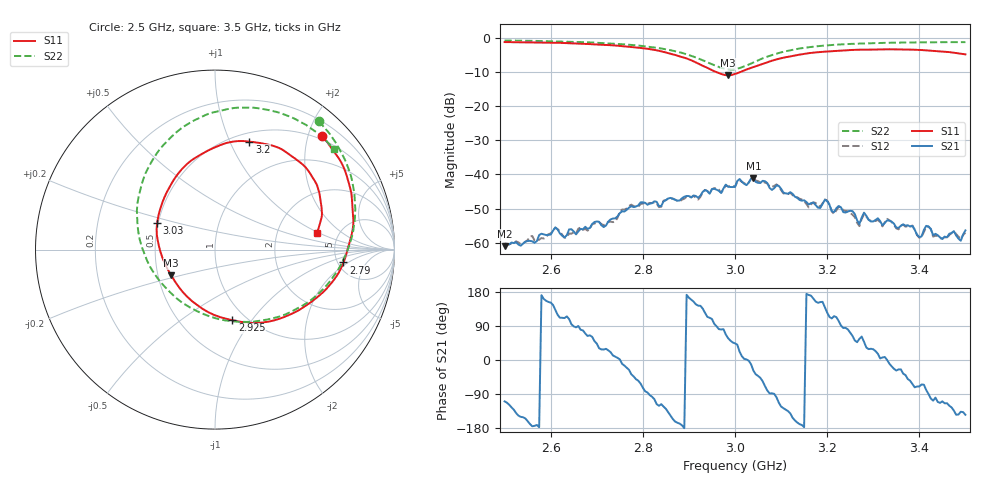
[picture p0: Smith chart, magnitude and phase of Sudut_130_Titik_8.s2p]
# Hz S RI R 50
! CMT, C1220, 16058040, 17.2.0/1
! Date: 15/08/2018 09:55:39
! Data: Format (Calibration Info)
! Freq  S11: Re/Im (F2)  S21: Re/Im (F2)  S12: Re/Im (F2)  S22: Re/Im (F2)
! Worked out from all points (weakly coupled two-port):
!   201 points, 2.5 GHz to 3.5 GHz, reference 50 ohm
!   highest |S21| = -41.12 dB at 3.04 GHz (marker M1); lowest = -61.0 dB at 2.5 GHz (marker M2)
!   lowest |S11| = -11.0 dB at 2.985 GHz (marker M3), VSWR 1.79, Z = 29.4 - j9.2 ohm
!   |S11| at or under -10 dB: 2.959 GHz to 3.012 GHz (52.2 MHz wide, 1.75 % of centre)
!   |S22| runs from -9.2 to -0.7 dB; largest |S21 - S12| = 0.00076
!   S11 on the Smith chart (normalised r, x): 2.5 GHz: 0.43, +2.25; 2.79 GHz: 5.62, -1.67; 2.925 GHz: 0.86, -0.81; 3.03 GHz: 0.49, +0.16; 3.2 GHz: 0.59, +1.18; 3.5 GHz: 3.41, +0.96
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2.5e9  0.597 0.6322  -0.000291 -0.00084  -0.000267 -0.00094  0.5776 0.7138
2.67e9  0.7591 0.3158  0.000324 0.00153  0.000502 0.00146  0.7486 0.439
2.79e9  0.7159 -0.0718  0.00204 -0.00286  0.0018 -0.00283  0.768 0.0919
2.835e9  0.6036 -0.236  -0.00176 -0.00295  -0.00162 -0.00289  0.7041 -0.0793
2.925e9  0.0969 -0.3934  -0.00391 0.00295  -0.00386 0.00269  0.2907 -0.3896
2.985e9  -0.2434 -0.1442  0.00355 0.00557  0.00329 0.00579  -0.1797 -0.2977
3e9  -0.2929 -0.0456  0.00475 0.00459  0.00499 0.00429  -0.278 -0.209
3.03e9  -0.3227 0.1461  0.00762 -0.000284  0.00763 -0.000291  -0.4072 0.0137
3.04e9  -0.3114 0.2049  0.00775 -0.00416  0.00807 -0.00402  -0.427 0.0962
3.105e9  -0.1331 0.4957  -0.00329 -0.00433  -0.00325 -0.00415  -0.3243 0.5361
3.17e9  0.097 0.6011  -0.00368 0.00119  -0.00379 0.000958  -0.0714 0.741
3.2e9  0.1915 0.6015  -0.00235 0.00333  -0.00217 0.00352  0.0405 0.7761
3.27e9  0.379 0.5546  0.00106 0.00156  0.000953 0.00147  0.261 0.7843
3.28e9  0.3999 0.54  0.00185 0.00204  0.0017 0.00195  0.2876 0.7792
3.335e9  0.5063 0.4567  0.00207 -0.000355  0.00208 -0.000493  0.4146 0.7418
3.385e9  0.5653 0.3652  0.000786 -0.00157  0.000784 -0.0016  0.5081 0.6943
3.4e9  0.5755 0.3367  0.000416 -0.00113  0.000345 -0.00113  0.5317 0.6774
3.415e9  0.584 0.3007  0.000329 -0.00173  0.000361 -0.00168  0.556 0.6604
3.45e9  0.5955 0.2135  -0.000373 -0.00107  -0.000358 -0.00108  0.6051 0.62
3.475e9  0.5869 0.1556  -0.00102 -0.00107  -0.000961 -0.00112  0.6344 0.5903
3.49e9  0.5767 0.1179  -0.000776 -0.000734  -0.000899 -0.000716  0.6523 0.5713
3.5e9  0.5664 0.094  -0.00123 -0.000879  -0.0012 -0.000727  0.6631 0.5594
